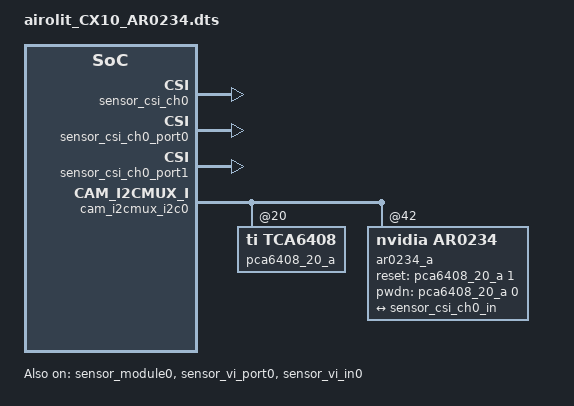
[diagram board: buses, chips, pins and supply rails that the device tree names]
// SPDX-License-Identifier: GPL-2.0
/*
 * Airolit CX10 - AR0234 Camera Overlay
 *
 * Requires: airolit_CX10_COMMON.dtbo loaded FIRST
 *
 * Enables:
 *   - sensor_module0
 *   - CSI channel 0 (serial_b, 2 lanes)
 *   - VI port 0
 *   - I2C channel 0 with PCA6408 expander and AR0234 sensor
 *
 * Physical mapping:
 *   CAM0 → CSI channel0 → VI port0 → module0 → video0
 *
 * Hardware:
 *   - Camera connector: CAM0
 *   - CSI channel: 0
 *   - I2C address: 0x42
 *   - Video node: video0
 */

/dts-v1/;
/plugin/;

#define CAM0_PWDN    TEGRA234_MAIN_GPIO(H, 6)
#define CAM1_PWDN    TEGRA234_MAIN_GPIO(AC, 0)
#define CAM_I2C_MUX  TEGRA234_AON_GPIO(CC, 3)

#include <dt-bindings/clock/tegra234-clock.h>
#include <dt-bindings/gpio/tegra234-gpio.h>
#include <dt-bindings/tegra234-p3767-0000-common.h>

/ {
    overlay-name = "Airolit CX10 AR0234 Camera";
    jetson-header-name = "Jetson 24pin CSI Connector";
    compatible = JETSON_COMPATIBLE_P3768;

    // ========================================================================
    // FRAGMENT 0: Enable sensor_module0 for AR0234
    // ========================================================================
    fragment@0 {
        target = <&sensor_module0>;
        __overlay__ {
            status = "okay";
            badge = "ar0234_rear_econ";

            drivernode0 {
                status = "okay";
                devname = "ar0234 10-0042";
                sysfs-device-tree = "/sys/firmware/devicetree/base/bus@0/cam_i2cmux/i2c@0/ar0234_a@42";
            };
        };
    };

    // ========================================================================
    // FRAGMENT 1: Enable VI port 0
    // ========================================================================
    fragment@1 {
        target = <&sensor_vi_port0>;
        __overlay__ {
            status = "okay";
        };
    };

    fragment@2 {
        target = <&sensor_vi_in0>;
        __overlay__ {
            status = "okay";
            bus-width = <2>;
        };
    };

    // ========================================================================
    // FRAGMENT 3: Enable CSI channel 0 (CAM0)
    // ========================================================================
    fragment@3 {
        target = <&sensor_csi_ch0>;
        __overlay__ {
            status = "okay";
            ports {
				status = "okay";
			};
        };
    };

    fragment@4 {
        target = <&sensor_csi_ch0_port0>;
        __overlay__ {
            status = "okay";
        };
    };

    fragment@5 {
        target = <&sensor_csi_ch0_port1>;
        __overlay__ {
            status = "okay";
        };
    };

    fragment@6 {
        target = <&sensor_csi_ch0_in>;
        __overlay__ {
            status = "okay";
            bus-width = <2>;
            remote-endpoint = <&ecam_ar0234_out0>;
        };
    };

    fragment@7 {
        target = <&sensor_csi_ch0_out>;
        __overlay__ {
            status = "okay";
        };
    };

    // ========================================================================
    // FRAGMENT 8: Enable and configure I2C channel 0 with AR0234 sensor
    // ========================================================================
    fragment@8 {
        target = <&cam_i2cmux_i2c0>;
        __overlay__ {
            /* Channel connected to CAM0 */
            status = "okay";

            // ============================================================
            // PCA6408: GPIO Expander for AR0234
            // ============================================================
            pca6408_20_a: pca6408@20 {
                compatible = "ti,tca6408";
                gpio-controller;
                #gpio-cells = <2>;
                reg = <0x20>;
                status = "okay";

                pca6408_20_outlow {
                    /* LED --> GPIO 7 */
                    gpio-hog;
                    gpios = <7 1>;
                    output-low;
                    label = "pca6408_20_outlow_7";
                    status = "okay";
                };
                /* Ensure sensor leaves reset and is not held in power-down at boot.
                    * Assuming pwdn (GPIO0) active high: drive low for active (not powered down).
                    * Assuming reset (GPIO1) active high: drive high to release reset. */
                ar0234_pwdn_inactive: ar0234_pwdn_hog {
                    gpio-hog;
                    gpios = <0 0>; /* GPIO0 output */
                    output-low;     /* low = sensor active (not powered down) */
                    label = "ar0234_pwdn_inactive";
                    status = "okay";
                };
                ar0234_reset_release: ar0234_reset_hog {
                    gpio-hog;
                    gpios = <1 0>; /* GPIO1 output */
                    output-high;    /* high = release reset */
                    label = "ar0234_reset_release";
                    status = "okay";
                };
            };

            // ============================================================
            // AR0234: ECON Camera Sensor
            // ============================================================
            ar0234_a: ar0234_a@42 {
                compatible = "nvidia,ar0234";
                /* I2C device address */
                reg = <0x42>;

                /* V4L2 device node location */
                devnode = "video0";
                status = "okay";
                /* Physical dimensions of sensor */
                physical_w = "3.680";
                physical_h = "2.760";

                sensor_model = "ar0234";
                camera_mipi_lanes = <2>;
                camera-mipi-clk = <1200>;
                disable-framesync;
                reset-gpios = <&pca6408_20_a 1 GPIO_ACTIVE_HIGH>;
                pwdn-gpios  = <&pca6408_20_a 0 GPIO_ACTIVE_HIGH>;// Default use_sensor_mode_id is false
                /*use_sensor_mode_id = "false";*/

                /**
                * ==== Modes ====
                * A modeX node is required to support v4l2 driver
                * implementation with NVIDIA camera software stack
                *
                * == Signal properties ==
                *
                * phy_mode = "";
                * PHY mode used by the MIPI lanes for this device
                *
                * tegra_sinterface = "";
                * CSI Serial interface connected to tegra
                * Incase of virtual HW devices, use virtual
                * For SW emulated devices, use host
                *
                * pix_clk_hz = "";
                * Sensor pixel clock used for calculations like exposure and framerate
                *
                * readout_orientation = "0";
                * Based on camera module orientation.
                * Only change readout_orientation if you specifically
                * Program a different readout order for this mode
                *
                * == Image format Properties ==
                *
                * active_w = "";
                * Pixel active region width
                *
                * active_h = "";
                * Pixel active region height
                *
                * pixel_t = "";
                * The sensor readout pixel pattern
                *
                * line_length = "";
                * Pixel line length (width) for sensor mode.
                *
                * == Source Control Settings ==
                *
                * Gain factor used to convert fixed point integer to float
                * Gain range [min_gain/gain_factor, max_gain/gain_factor]
                * Gain step [step_gain/gain_factor is the smallest step that can be configured]
                * Default gain [Default gain to be initialized for the control.
                *     use min_gain_val as default for optimal results]
                * Framerate factor used to convert fixed point integer to float
                * Framerate range [min_framerate/framerate_factor, max_framerate/framerate_factor]
                * Framerate step [step_framerate/framerate_factor is the smallest step that can be configured]
                * Default Framerate [Default framerate to be initialized for the control.
                *     use max_framerate to get required performance]
                * Exposure factor used to convert fixed point integer to float
                * For convenience use 1 sec = 1000000us as conversion factor
                * Exposure range [min_exp_time/exposure_factor, max_exp_time/exposure_factor]
                * Exposure step [step_exp_time/exposure_factor is the smallest step that can be configured]
                * Default Exposure Time [Default exposure to be initialized for the control.
                *     Set default exposure based on the default_framerate for optimal exposure settings]
                *
                * gain_factor = ""; (integer factor used for floating to fixed point conversion)
                * min_gain_val = ""; (ceil to integer)
                * max_gain_val = ""; (ceil to integer)
                * step_gain_val = ""; (ceil to integer)
                * default_gain = ""; (ceil to integer)
                * Gain limits for mode
                *
                * exposure_factor = ""; (integer factor used for floating to fixed point conversion)
                * min_exp_time = ""; (ceil to integer)
                * max_exp_time = ""; (ceil to integer)
                * step_exp_time = ""; (ceil to integer)
                * default_exp_time = ""; (ceil to integer)
                * Exposure Time limits for mode (sec)
                *
                * framerate_factor = ""; (integer factor used for floating to fixed point conversion)
                * min_framerate = ""; (ceil to integer)
                * max_framerate = ""; (ceil to integer)
                * step_framerate = ""; (ceil to integer)
                * default_framerate = ""; (ceil to integer)
                * Framerate limits for mode (fps)
                *
                * embedded_metadata_height = "";
                * Sensor embedded metadata height in units of rows.
                * If sensor does not support embedded metadata value should be 0.
                */
#if 0
                mode0 { /* AR0234_MODE_640x480_120FPS */
                    mclk_khz = "24000";
                    num_lanes = "2";
                    tegra_sinterface = "serial_b";
                    phy_mode = "DPHY";
                    discontinuous_clk = "no";
                    dpcm_enable = "false";
                    cil_settletime = "0";
                    lane_polarity = "6";
                    dynamic_pixel_bit_depth = "16";
                    csi_pixel_bit_depth = "16";
                    mode_type = "yuv";

                    active_w = "320";
                    active_h = "240";
                    pixel_phase = "uyvy";
                    readout_orientation = "90";
                    line_length = "320";
                    inherent_gain = "1";
                    mclk_multiplier = "9.33";
                    pix_clk_hz = "150000000";
                    min_gain_val = "16";
                    max_gain_val = "170"; /* 10.66x */
                    step_gain_val = "1";
                    default_gain = "16"; /* 1.00x */
                    min_hdr_ratio = "1";
                    max_hdr_ratio = "1";
                    min_framerate = "2000000"; /* 2.0 fps */
                    max_framerate = "120000000";
                    default_framerate = "120000000";
                    step_framerate = "1";
                    min_exp_time = "13"; /* us */
                    max_exp_time = "683709"; /* us */
                    embedded_metadata_height = "0";
                };
#endif
                mode0 { /* AR0234_MODE_1280x720_120FPS */
                    mclk_khz = "24000";
                    num_lanes = "2";
                    tegra_sinterface = "serial_b";
                    phy_mode = "DPHY";
                    discontinuous_clk = "no";
                    dpcm_enable = "false";
                    cil_settletime = "0";
                    lane_polarity = "6";
                    dynamic_pixel_bit_depth = "16";
                    csi_pixel_bit_depth = "16";
                    mode_type = "yuv";

                    active_w = "640";
                    active_h = "480";
                    pixel_phase = "uyvy";
                    readout_orientation = "90";
                    line_length = "640";
                    inherent_gain = "1";
                    mclk_multiplier = "9.33";
                    pix_clk_hz = "150000000";
                    min_gain_val = "16";
                    max_gain_val = "170"; /* 10.66x */
                    step_gain_val = "1";
                    default_gain = "16"; /* 1.00x */
                    min_hdr_ratio = "1";
                    max_hdr_ratio = "1";
                    min_framerate = "2000000"; /* 2.0 fps */
                    max_framerate = "120000000";
                    step_framerate = "1";
                    default_framerate = "120000000";
                    min_exp_time = "13"; /* us */
                    max_exp_time = "683709"; /* us */
                    embedded_metadata_height = "0";
                };
                mode1 { /* AR0234_MODE_1280x720_120FPS */
                    mclk_khz = "24000";
                    num_lanes = "2";
                    tegra_sinterface = "serial_b";
                    phy_mode = "DPHY";
                    discontinuous_clk = "no";
                    dpcm_enable = "false";
                    cil_settletime = "0";
                    lane_polarity = "6";
                    dynamic_pixel_bit_depth = "16";
                    csi_pixel_bit_depth = "16";
                    mode_type = "yuv";

                    active_w = "1280";
                    active_h = "720";
                    pixel_phase = "uyvy";
                    readout_orientation = "90";
                    line_length = "1280";
                    inherent_gain = "1";
                    mclk_multiplier = "9.33";
                    pix_clk_hz = "150000000";
                    min_gain_val = "16";
                    max_gain_val = "170"; /* 10.66x */
                    step_gain_val = "1";
                    default_gain = "16"; /* 1.00x */
                    min_hdr_ratio = "1";
                    max_hdr_ratio = "1";
                    min_framerate = "2000000"; /* 2.0 fps */
                    max_framerate = "120000000";
                    step_framerate = "1";
                    default_framerate = "120000000";
                    min_exp_time = "13"; /* us */
                    max_exp_time = "683709"; /* us */
                    embedded_metadata_height = "0";
                };
                mode2 { /* AR0234_MODE_1920x1080_65FPS */
                    mclk_khz = "24000";
                    num_lanes = "2";
                    tegra_sinterface = "serial_b";
                    phy_mode = "DPHY";
                    discontinuous_clk = "no";
                    dpcm_enable = "false";
                    cil_settletime = "0";
                    lane_polarity = "6";
                    dynamic_pixel_bit_depth = "16";
                    csi_pixel_bit_depth = "16";
                    mode_type = "yuv";

                    active_w = "1920";
                    active_h = "1080";
                    pixel_phase = "uyvy";
                    readout_orientation = "90";
                    line_length = "1920";
                    inherent_gain = "1";
                    mclk_multiplier = "9.33";
                    pix_clk_hz = "150000000";

                    /* CSI-2 frame identification */
                    vc-id = <0>;
                    data-type = <0x1e>; /* UYVY 8-bit YUV422 */

                    min_gain_val = "16";
                    max_gain_val = "170";
                    step_gain_val = "1";
                    default_gain = "16";
                    min_hdr_ratio = "1";
                    max_hdr_ratio = "1";
                    min_framerate = "2000000"; /* 2.0 fps */
                    max_framerate = "65000000";
                    step_framerate = "1";
                    default_framerate = "65000000";
                    min_exp_time = "13";
                    max_exp_time = "683709";
                    step_exp_time = "1";
                    default_exp_time = "2495";
                    embedded_metadata_height = "0";
                };
                mode3 { /* AR0234_MODE_1920x1200_60FPS */
                    mclk_khz = "24000";
                    num_lanes = "2";
                    tegra_sinterface = "serial_b";
                    phy_mode = "DPHY";
                    discontinuous_clk = "no";
                    dpcm_enable = "false";
                    cil_settletime = "0";
                    lane_polarity = "6";
                    csi_pixel_bit_depth = "16";

                    active_w = "1920";
                    active_h = "1200";
                    pixel_phase = "uyvy";
                    mode_type = "yuv";
                    readout_orientation = "90";
                    line_length = "1920";
                    inherent_gain = "1";
                    mclk_multiplier = "9.33";
                    pix_clk_hz = "150000000";
                    gain_factor = "16";
                    default_gain = "16";
                    step_gain_val = "1";
                    framerate_factor = "1000000";
                    exposure_factor = "1000000";
                    min_gain_val = "16";
                    max_gain_val = "170"; /* 10.66x */
                    min_hdr_ratio = "1";
                    max_hdr_ratio = "1";
                    min_framerate = "2000000"; /* 2.0 fps */
                    max_framerate = "60000000"; /* 60.0 fps */
                    default_framerate = "60000000"; /* 60.0 fps */
                    step_framerate = "1";
                    min_exp_time = "13"; /* us */
                    max_exp_time = "683709"; /* us */
                    step_exp_time = "1";
                    default_exp_time = "2495";
                    embedded_metadata_height = "0";
                };
                ports {
                    #address-cells = <1>;
                    #size-cells = <0>;
                    port@0 {
                        reg = <0>;
                        ecam_ar0234_out0: endpoint {
                            status = "okay";
                            vc-id = <0>;
                            port-index = <1>;
                            bus-width = <2>;
                            remote-endpoint = <&sensor_csi_ch0_in>;
                        };
                    };
                };
            };
        };
    };
};

